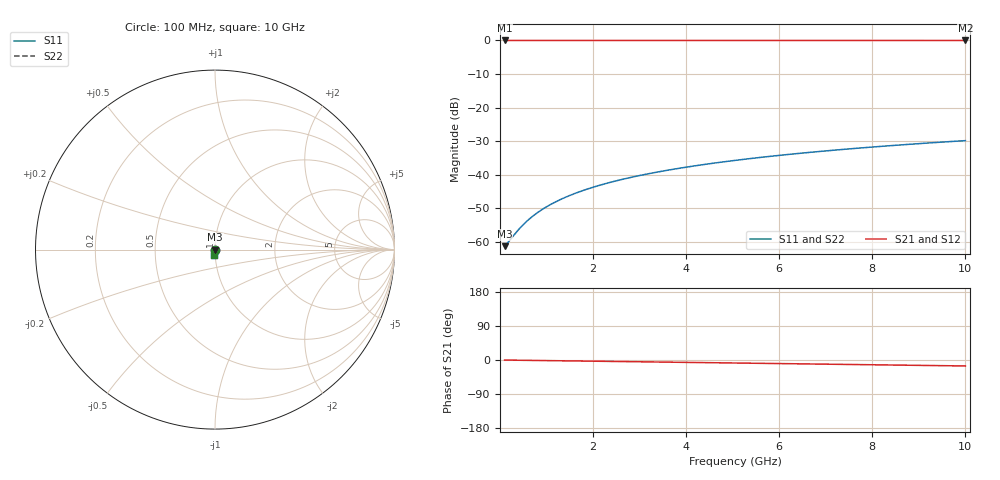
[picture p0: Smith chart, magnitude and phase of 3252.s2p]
# Hz S RI R 50.00
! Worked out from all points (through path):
!   100 points, 100 MHz to 10 GHz, reference 50 ohm
!   highest |S21| = -0.01 dB at 100 MHz (marker M1); lowest = 0.0 dB at 10 GHz (marker M2)
!   group delay of S21, straight-line fit = 4.37 ps
!   lowest |S11| = -61.3 dB at 100 MHz (marker M3), VSWR 1.00, Z = 50.1 - j0.0325 ohm
!   |S11| at or under -10 dB: start of sweep to end of sweep
!   |S22| runs from -61.3 to -29.8 dB; largest |S21 - S12| = 0
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1e8  0.000798 -0.000324  0.9992 -0.00273  0.9992 -0.00273  0.000798 -0.000324
2e8  0.0008 -0.000649  0.9992 -0.00547  0.9992 -0.00547  0.0008 -0.000649
4e8  0.000793 -0.0013  0.9991 -0.0109  0.9991 -0.0109  0.000793 -0.0013
5e8  0.000787 -0.00162  0.9991 -0.0137  0.9991 -0.0137  0.000787 -0.00162
6e8  0.000778 -0.00195  0.999 -0.0164  0.999 -0.0164  0.000778 -0.00195
7e8  0.000767 -0.00227  0.999 -0.0191  0.999 -0.0191  0.000767 -0.00227
8e8  0.000755 -0.0026  0.9989 -0.0219  0.9989 -0.0219  0.000755 -0.0026
1e9  0.000724 -0.00324  0.9988 -0.0273  0.9988 -0.0273  0.000724 -0.00324
1.2e9  0.000685 -0.00389  0.9986 -0.0328  0.9986 -0.0328  0.000685 -0.00389
1.5e9  0.000614 -0.00487  0.9983 -0.041  0.9983 -0.041  0.000614 -0.00487
1.8e9  0.000526 -0.00584  0.9979 -0.0492  0.9979 -0.0492  0.000526 -0.00584
2.1e9  0.000422 -0.00681  0.9975 -0.0574  0.9975 -0.0574  0.000422 -0.00681
2.5e9  0.000258 -0.0081  0.9967 -0.0683  0.9967 -0.0683  0.000258 -0.0081
2.9e9  6.55e-05 -0.00939  0.9959 -0.0792  0.9959 -0.0792  6.55e-05 -0.00939
3.4e9  -0.000215 -0.011  0.9947 -0.0929  0.9947 -0.0929  -0.000215 -0.011
4.2e9  -0.000757 -0.0136  0.9924 -0.1146  0.9924 -0.1146  -0.000757 -0.0136
5.1e9  -0.0015 -0.0164  0.9892 -0.1391  0.9892 -0.1391  -0.0015 -0.0164
5.9e9  -0.00228 -0.0189  0.9858 -0.1608  0.9858 -0.1608  -0.00228 -0.0189
6.7e9  -0.00317 -0.0214  0.982 -0.1825  0.982 -0.1825  -0.00317 -0.0214
7.5e9  -0.00417 -0.0239  0.9776 -0.204  0.9776 -0.204  -0.00417 -0.0239
8.4e9  -0.00543 -0.0265  0.9722 -0.2282  0.9722 -0.2282  -0.00543 -0.0265
1e10  -0.00798 -0.0312  0.961 -0.2709  0.961 -0.2709  -0.00798 -0.0312
